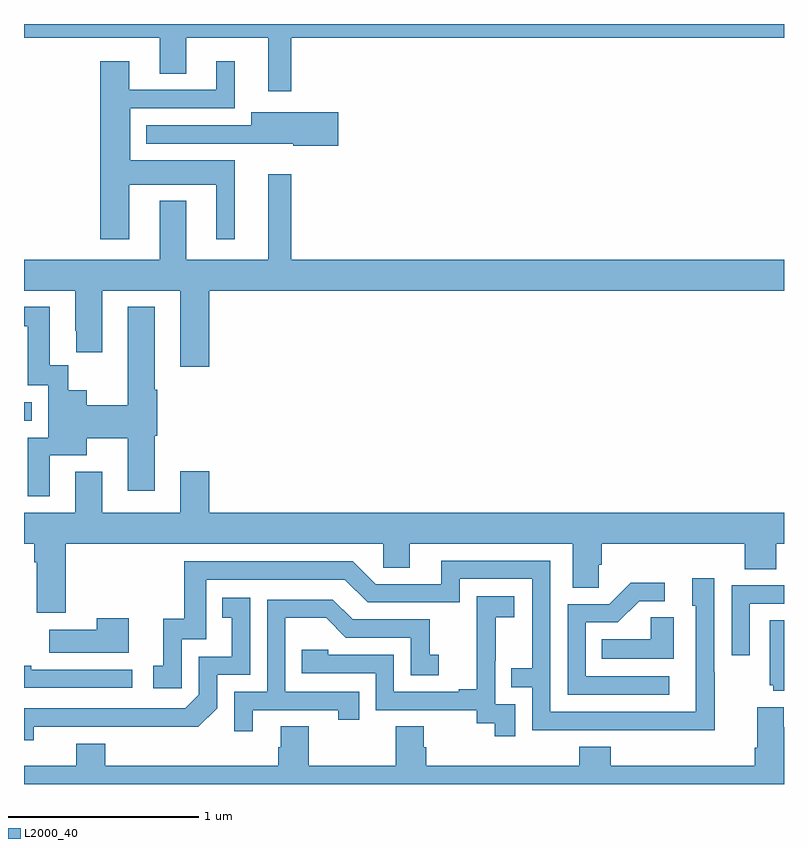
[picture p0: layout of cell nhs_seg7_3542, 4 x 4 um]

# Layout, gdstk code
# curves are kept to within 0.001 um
import gdstk
lib = gdstk.Library(unit=1e-6, precision=1e-09)
def R(c, l, rs):  # rectangles x0, y0, x1, y1
    for r in rs: c.add(gdstk.rectangle(r[:2], r[2:], *l))
def P(c, l, *ps):  # polygons
    for p in ps: c.add(gdstk.Polygon(p, *l))
L2000_40 = (2000, 40)

nhs_seg7_3542 = lib.new_cell('nhs_seg7_3542')
R(nhs_seg7_3542, L2000_40, [(337,1019.913,337.042,1020.009)])
P(nhs_seg7_3542, L2000_40, [(338.407,1021.928),(341,1021.928),(341,1022),(337,1022),(337,1021.928),(337.715,1021.928),(337.715,1021.738),(337.855,1021.738),(337.855,1021.928),(338.285,1021.928),(338.285,1021.647),(338.407,1021.647)],
  [(337.555,1021.154),(338.012,1021.154),(338.012,1020.867),(338.11,1020.867),(338.11,1021.282),(337.558,1021.282),(337.558,1021.557),(338.11,1021.557),(338.11,1021.804),(338.012,1021.804),(338.012,1021.653),(337.555,1021.653),(337.555,1021.804),(337.4,1021.804),(337.4,1020.867),(337.555,1020.867)],
  [(338.653,1021.536),(338.195,1021.536),(338.195,1021.467),(337.643,1021.467),(337.643,1021.371),(338.199,1021.371),(338.199,1021.37),(338.418,1021.37),(338.418,1021.358),(338.653,1021.358)],
  [(337.976,1020.596),(341,1020.596),(341,1020.76),(338.407,1020.76),(338.407,1021.21),(338.285,1021.21),(338.285,1020.76),(337.855,1020.76),(337.855,1021.069),(337.715,1021.069),(337.715,1020.76),(337,1020.76),(337,1020.596),(337.271,1020.596),(337.271,1020.385),(337.274,1020.385),(337.274,1020.273),(337.411,1020.273),(337.411,1020.596),(337.823,1020.596),(337.823,1020.195),(337.976,1020.195)],
  [(337.135,1019.729),(337.33,1019.729),(337.33,1019.821),(337.547,1019.821),(337.547,1019.544),(337.687,1019.544),(337.687,1019.832),(337.7,1019.832),(337.7,1020.076),(337.687,1020.076),(337.687,1020.511),(337.547,1020.511),(337.547,1019.993),(337.33,1019.993),(337.33,1020.073),(337.233,1020.073),(337.233,1020.203),(337.135,1020.203),(337.135,1020.511),(337,1020.511),(337,1020.408),(337.019,1020.408),(337.019,1020.099),(337.128,1020.099),(337.128,1019.823),(337.019,1019.823),(337.019,1019.514),(337.135,1019.514)],
  [(337.22,1019.264),(338.892,1019.264),(338.892,1019.137),(339.031,1019.137),(339.031,1019.264),(339.887,1019.264),(339.887,1019.032),(340.026,1019.032),(340.026,1019.155),(340.04,1019.155),(340.04,1019.264),(340.793,1019.264),(340.793,1019.131),(340.958,1019.131),(340.958,1019.264),(341,1019.264),(341,1019.428),(337.976,1019.428),(337.976,1019.647),(337.823,1019.647),(337.823,1019.428),(337.411,1019.428),(337.411,1019.644),(337.271,1019.644),(337.271,1019.428),(337,1019.428),(337,1019.264),(337.055,1019.264),(337.055,1019.168),(337.067,1019.168),(337.067,1018.902),(337.22,1018.902)],
  [(340.635,1018.589),(340.632,1018.589),(340.632,1019.083),(340.517,1019.083),(340.517,1018.938),(340.536,1018.938),(340.536,1018.38),(339.771,1018.38),(339.771,1019.175),(339.197,1019.175),(339.197,1019.052),(338.85,1019.052),(338.73,1019.172),(337.843,1019.172),(337.843,1018.87),(337.733,1018.87),(337.733,1018.623),(337.68,1018.623),(337.68,1018.503),(337.83,1018.503),(337.83,1018.761),(337.959,1018.761),(337.959,1019.076),(338.688,1019.076),(338.808,1018.956),(339.294,1018.956),(339.294,1019.079),(339.675,1019.079),(339.675,1018.61),(339.565,1018.61),(339.565,1018.509),(339.675,1018.509),(339.675,1018.284),(340.635,1018.283)],
  [(340.396,1018.566),(339.957,1018.566),(339.957,1018.851),(340.126,1018.851),(340.237,1018.962),(340.372,1018.962),(340.372,1019.06),(340.193,1019.06),(340.08,1018.947),(339.861,1018.947),(339.861,1018.47),(340.396,1018.47)],
  [(340.821,1018.95),(341,1018.95),(341,1019.046),(340.725,1019.046),(340.725,1018.677),(340.821,1018.677)],
  [(339.585,1018.419),(339.48,1018.419),(339.48,1018.649),(339.482,1018.649),(339.482,1018.877),(339.58,1018.877),(339.58,1018.987),(339.382,1018.987),(339.382,1018.781),(339.383,1018.781),(339.383,1018.498),(339.287,1018.498),(339.287,1018.485),(338.946,1018.485),(338.946,1018.68),(338.601,1018.68),(338.601,1018.707),(338.461,1018.707),(338.461,1018.584),(338.85,1018.584),(338.85,1018.389),(339.384,1018.389),(339.384,1018.321),(339.477,1018.321),(339.477,1018.251),(339.585,1018.251)],
  [(337.05,1018.302),(337.918,1018.301),(338.016,1018.398),(338.016,1018.575),(338.19,1018.575),(338.19,1018.981),(338.044,1018.981),(338.044,1018.875),(338.093,1018.875),(338.093,1018.671),(337.92,1018.671),(337.92,1018.47),(337.848,1018.398),(337,1018.398),(337,1018.229),(337.05,1018.229)],
  [(338.203,1018.389),(338.654,1018.389),(338.654,1018.338),(338.765,1018.338),(338.765,1018.485),(338.376,1018.485),(338.376,1018.874),(338.59,1018.874),(338.694,1018.77),(339.036,1018.77),(339.036,1018.572),(339.184,1018.572),(339.184,1018.681),(339.135,1018.681),(339.135,1018.866),(338.731,1018.866),(338.626,1018.971),(338.28,1018.971),(338.28,1018.485),(338.106,1018.485),(338.106,1018.278),(338.203,1018.278)],
  [(340.42,1018.877),(340.299,1018.877),(340.299,1018.762),(340.042,1018.762),(340.042,1018.658),(340.42,1018.658)],
  [(337.552,1018.873),(337.382,1018.873),(337.382,1018.813),(337.133,1018.813),(337.133,1018.691),(337.552,1018.691)],
  [(341,1018.861),(340.925,1018.861),(340.925,1018.521),(340.943,1018.521),(340.943,1018.49),(341,1018.49)],
  [(337.57,1018.602),(337.037,1018.602),(337.037,1018.622),(337,1018.622),(337,1018.506),(337.57,1018.506)],
  [(341,1018.298),(340.999,1018.298),(340.999,1018.405),(340.859,1018.405),(340.859,1018.192),(340.847,1018.192),(340.847,1018.096),(340.088,1018.096),(340.088,1018.195),(339.923,1018.195),(339.923,1018.096),(339.116,1018.096),(339.116,1018.194),(339.103,1018.194),(339.103,1018.304),(338.956,1018.304),(338.956,1018.096),(338.499,1018.096),(338.499,1018.304),(338.351,1018.304),(338.351,1018.194),(338.339,1018.194),(338.339,1018.096),(337.427,1018.096),(337.427,1018.213),(337.274,1018.213),(337.274,1018.096),(337,1018.096),(337,1018),(341,1018)])

lib.write_gds('nhs_seg7_3542.gds')
